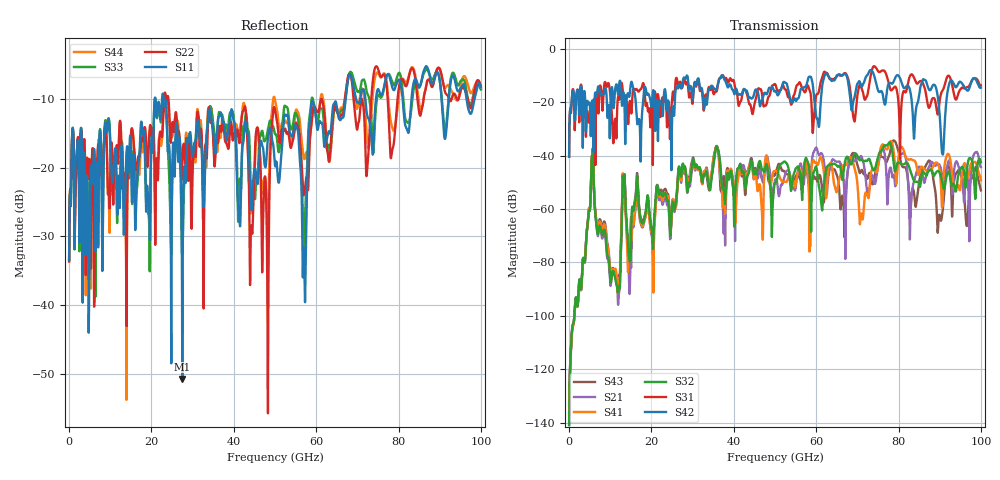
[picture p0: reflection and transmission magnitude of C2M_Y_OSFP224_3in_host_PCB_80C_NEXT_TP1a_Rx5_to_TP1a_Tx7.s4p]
# GHz S RI R 45
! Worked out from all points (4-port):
!   4000 points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, 25 MHz to 100 GHz, reference 45 ohm
!   strongest paths, dB at 25 MHz, 25.02 GHz, 50.02 GHz, 75.03 GHz, 100 GHz:
!     S42: -40.5, -26.4, -15.9, -15.6, -14.6
!     S31: -40.5, -18.5, -13.2, -8.4, -13.8
!     S32: -141.0, -58.8, -50.3, -40.6, -42.5
!     S41: -136.9, -58.4, -45.8, -44.0, -49.2
!     S21: -140.7, -58.8, -49.2, -44.0, -44.3
!     S43: -133.1, -58.3, -47.1, -41.1, -53.0
!   lowest |S11| = -50.7 dB at 27.5 GHz (marker M1), VSWR 1.01, Z = 44.8 + j0.157 ohm
!   |S11| at or under -10 dB: start of sweep to 20.81 GHz; 22.97 GHz to 67.17 GHz (44.2 GHz wide, 98.1 % of centre); 71.96 GHz to 74.52 GHz (2.565 GHz wide, 3.5 % of centre) (the widest 3 of 8)
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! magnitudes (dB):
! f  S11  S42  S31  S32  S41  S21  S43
! 25 MHz  -33.4  -40.5  -40.5  -141.0  -136.9  -140.7  -133.1
! 5.675 GHz  -22.2  -19.4  -23.3  -40.2  -40.0  -40.2  -40.0
! 11.97 GHz  -21.3  -16.9  -17.8  -90.5  -89.5  -95.2  -86.3
! 13.28 GHz  -29.3  -16.6  -19.2  -49.7  -49.3  -49.5  -49.5
! 14.68 GHz  -17.1  -17.7  -20.1  -79.4  -72.1  -91.3  -73.2
! 27.5 GHz  -50.7  -13.2  -14.6  -43.9  -45.3  -45.1  -44.1
! 100 GHz  -8.3  -14.6  -13.8  -42.5  -49.2  -44.3  -53.0
